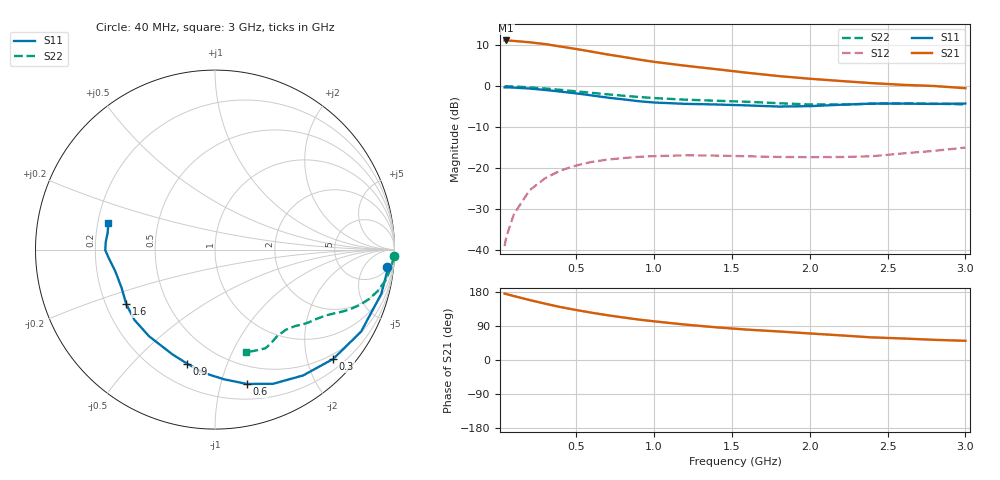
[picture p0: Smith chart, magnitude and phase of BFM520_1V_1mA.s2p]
! Filename: BFM520A.s2p
! Bias: Vce=1V; Ic=1mA
! Company: Philips Semiconductors NL
! User: Quality&Reliability T&D
! Measure time:  1 May 2001 / 09:57:52
#  MHz  S  MA  R 50
! Freq  S11  S21  S12  S22  :
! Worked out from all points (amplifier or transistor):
!   22 points, 40 MHz to 3 GHz, reference 50 ohm
!   highest |S21| = 11.2 dB at 50 MHz (marker M1)
!   |S21| within 3 dB of that: start of sweep to 638.4 MHz
!   unconditionally stable (mu >= 1): 1.791 GHz to 2.438 GHz
!   at 200 MHz: K = 0.09, MSG = 18.1 dB, |S12| = -25.5 dB
!   at 1 GHz: K = 0.57, MSG = 11.5 dB, |S12| = -17.1 dB
!   at 3 GHz: K = 0.97, MSG = 7.2 dB, |S12| = -15.0 dB
!   S11 on the Smith chart (normalised r, x): 40 MHz: 6, -17; 300 MHz: 0.40, -2.50; 600 MHz: 0.33, -1.21; 900 MHz: 0.33, -0.73; 1.6 GHz: 0.29, -0.26; 3 GHz: 0.24, +0.11
40  0.9656 -5.9  3.606 175.4  0.01106 87.2  0.9958 -2.1
50  0.9664 -7.4  3.612 174.1  0.01421 85.1  0.9954 -2.7
100  0.9589 -14.9  3.563 168.7  0.02725 82.2  0.9884 -5.2
200  0.9335 -29.3  3.431 158.3  0.05325 73.7  0.9666 -10.1
300  0.8972 -42.8  3.263 148.6  0.0748 66.2  0.9354 -14.3
400  0.856 -55.0  3.042 139.6  0.09317 59.7  0.8998 -18.0
500  0.8147 -66.6  2.84 131.9  0.107 55.1  0.8624 -21.0
600  0.7692 -76.7  2.634 124.7  0.1185 50.4  0.8269 -23.5
700  0.7236 -86.2  2.438 118.2  0.1264 46.5  0.7939 -25.7
800  0.6895 -95.2  2.275 112.3  0.1319 43.3  0.7631 -27.5
900  0.6538 -103.8  2.114 106.8  0.1366 41.0  0.7367 -29.3
1000  0.63 -112.1  1.978 102.0  0.1392 38.7  0.714 -31.1
1200  0.6068 -127.2  1.774 93.5  0.1426 36.5  0.6829 -34.6
1400  0.5959 -138.8  1.609 86.2  0.1415 36.3  0.662 -37.7
1600  0.5807 -148.3  1.454 80.1  0.1388 37.9  0.6429 -40.4
1800  0.5624 -157.7  1.326 75.3  0.1361 40.2  0.6177 -43.5
2000  0.5684 -167.7  1.23 70.1  0.1355 43.9  0.5961 -48.5
2200  0.5917 -174.9  1.154 65.0  0.1359 48.3  0.5942 -54.5
2400  0.6114 -179.7  1.086 59.7  0.1389 54.6  0.6088 -59.3
2600  0.6103 176.0  1.035 56.8  0.1504 61.0  0.6173 -62.9
2800  0.6053 171.1  1.002 53.2  0.1616 66.5  0.6087 -66.9
3000  0.6119 166.1  0.9425 50.7  0.1776 71.5  0.598 -73.2
